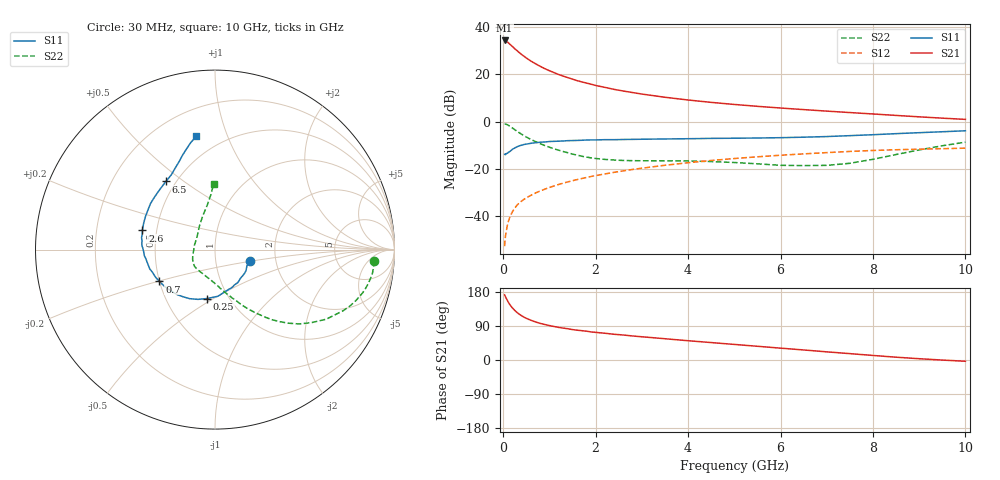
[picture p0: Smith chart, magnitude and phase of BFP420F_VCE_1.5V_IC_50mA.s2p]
! Infineon Technologies  Discrete & RF Semiconductors
! BFP420F
! VCE =  1.5 V,  IC =  50 mA
! Common Emitter S-Parameters:  Sep 2011
# GHz  S  MA  R  50
!  f  S11  S21  S12  S22
! GHz  MAG  ANG  MAG  ANG  MAG  ANG  MAG  ANG
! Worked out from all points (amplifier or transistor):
!   54 points, 30 MHz to 10 GHz, reference 50 ohm
!   highest |S21| = 34.4 dB at 30 MHz (marker M1)
!   |S21| within 3 dB of that: start of sweep to 222.2 MHz
!   unconditionally stable (mu >= 1): 1.126 GHz to end of sweep
!   at 120 MHz: K = 0.47, MSG = 37.5 dB, |S12| = -41.8 dB
!   at 1.3 GHz: K = 1.04, MAG = 21.4 dB, |S12| = -26.1 dB
!   at 10 GHz: K = 1.22, MAG = 3.2 dB, |S12| = -11.2 dB
!   S11 on the Smith chart (normalised r, x): 30 MHz: 1.46, -0.19; 250 MHz: 0.79, -0.47; 700 MHz: 0.50, -0.20; 2.6 GHz: 0.42, +0.11; 6.5 GHz: 0.44, +0.43; 10 GHz: 0.37, +0.78
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0.03  0.2026 -18.0  52.37 172.0  0.0023 90.8  0.8878 -4.1
0.07  0.2109 -38.4  50.26 161.7  0.0049 82.9  0.8745 -12.5
0.1  0.2182 -51.8  47.89 154.6  0.007 79.8  0.8471 -17.9
0.12  0.2248 -61.3  45.99 150.4  0.0081 78.4  0.8255 -21.2
0.15  0.2345 -71.1  43.12 145.0  0.0098 76.6  0.79 -25.6
0.2  0.2606 -86.5  38.87 137.3  0.0124 73.7  0.7314 -32.0
0.25  0.276 -99.1  34.95 130.7  0.0147 71.6  0.6745 -37.1
0.3  0.2931 -108.9  31.79 125.2  0.0171 70.0  0.6251 -41.5
0.35  0.3075 -117.2  28.85 120.6  0.019 69.0  0.5788 -45.1
0.45  0.3275 -130.0  24.21 113.1  0.0226 67.4  0.5043 -50.8
0.6  0.3472 -143.5  19.14 104.8  0.0275 66.7  0.4179 -57.4
0.7  0.3572 -150.2  16.79 100.4  0.0308 66.6  0.3767 -61.0
0.9  0.3704 -159.9  13.23 93.6  0.0371 66.6  0.3117 -67.1
1.2  0.3855 -170.2  9.937 86.0  0.0466 66.4  0.2479 -76.3
1.7  0.4029 178.6  6.942 77.4  0.0623 65.4  0.1848 -91.3
2.6  0.4183 165.2  4.445 65.9  0.0905 61.9  0.1502 -117.6
3.5  0.4291 154.6  3.28 56.1  0.119 57.1  0.1478 -134.2
5.5  0.4496 136.1  2.108 36.2  0.1798 44.0  0.1277 -165.9
6.5  0.4679 125.8  1.797 26.5  0.2074 37.0  0.1171 167.5
7  0.4826 120.3  1.669 21.5  0.2205 33.3  0.1184 152.0
8.5  0.556 109.0  1.353 7.4  0.2536 21.8  0.201 109.7
10  0.6396 99.4  1.116 -3.3  0.2739 12.5  0.3673 91.1
